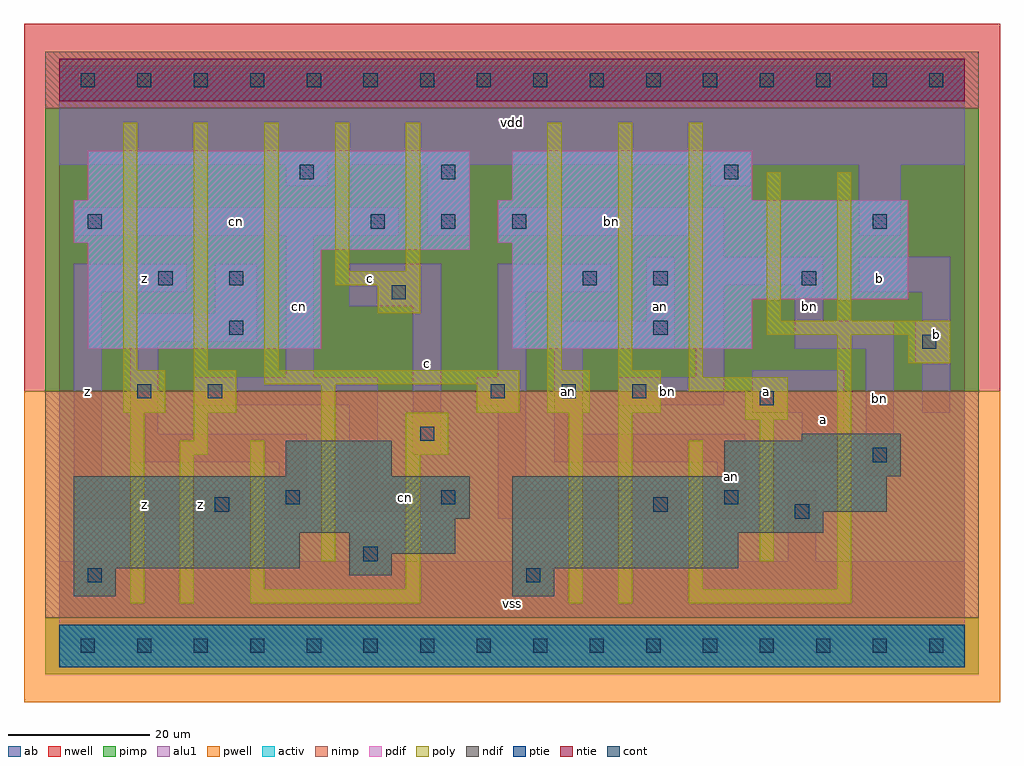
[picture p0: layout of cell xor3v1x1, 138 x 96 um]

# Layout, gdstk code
import gdstk
lib = gdstk.Library(unit=1e-6, precision=1e-09)
def R(c, l, rs):  # rectangles x0, y0, x1, y1
    for r in rs: c.add(gdstk.rectangle(r[:2], r[2:], *l))
def A(c, l, x, y, w, h, nx, ny, dx, dy):  # array of equal rectangles
    R(c, l, [(x+i*dx, y+j*dy, x+i*dx+w, y+j*dy+h) for i in range(nx) for j in range(ny)])
ndif = (3, 0)
pdif = (4, 0)
ntie = (5, 0)
ptie = (6, 0)
cont = (25, 0)
pwell = (41, 0)
nwell = (42, 0)
activ = (43, 0)
pimp = (44, 0)
nimp = (45, 0)
poly = (46, 0)
alu1 = (49, 0)
ab = (63, 0)

xor3v1x1 = lib.new_cell('xor3v1x1')
R(xor3v1x1, ndif, [(2,7,8,11), (64,7,70,11), (41,10,47,13), (2,11,34,16), (64,11,96,16), (41,13,56,16), (2,16,56,18), (64,16,108,19), (2,18,58,24), (64,19,117,24), (32,24,47,29), (94,24,119,29), (105,29,119,30)])
R(xor3v1x1, pdif, [(4,42,37,56), (64,42,98,49), (64,49,120,57), (4,56,58,57), (2,57,58,63), (62,57,120,63), (4,63,58,70), (64,63,98,70)])
R(xor3v1x1, ntie, [(0,77,128,83)])
R(xor3v1x1, ptie, [(0,-3,128,3)])
A(xor3v1x1, cont, 3, -1, 2, 2, 16, 2, 8, 80)
A(xor3v1x1, cont, 61, 35, 2, 2, 3, 1, 10, 0)
A(xor3v1x1, cont, 44, 59, 2, 2, 3, 1, 10, 0)
R(xor3v1x1, cont, [(4,9,6,11), (66,9,68,11), (43,12,45,14), (104,18,106,20), (22,19,24,21), (84,19,86,21), (32,20,34,22), (54,20,56,22), (94,20,96,22), (115,26,117,28), (51,29,53,31), (99,34,101,36), (11,35,13,37), (21,35,23,37), (122,42,124,44), (24,44,26,46), (84,44,86,46), (47,49,49,51), (14,51,16,53), (24,51,26,53), (74,51,76,53), (84,51,86,53), (105,51,107,53), (4,59,6,61), (115,59,117,61), (34,66,36,68), (54,66,56,68), (94,66,96,68)])
R(xor3v1x1, pwell, [(-5,-8,133,36)])
R(xor3v1x1, nwell, [(-5,36,133,88)])
R(xor3v1x1, activ, [(0,-3,128,3), (2,7,8,11), (64,7,70,11), (41,10,47,13), (2,11,34,16), (64,11,96,16), (41,13,56,16), (2,16,56,18), (64,16,108,19), (2,18,58,24), (64,19,117,24), (32,24,47,29), (94,24,119,29), (105,29,119,30), (4,42,37,56), (64,42,98,49), (64,49,120,57), (4,56,58,57), (2,57,58,63), (62,57,120,63), (4,63,58,70), (64,63,98,70), (0,77,128,83)])
R(xor3v1x1, pimp, [(-2,-4,130,4), (-2,36,130,76)])
R(xor3v1x1, nimp, [(-2,4,130,36), (-2,76,130,84)])
A(xor3v1x1, poly, 9, 39, 2, 35, 3, 1, 10, 0)
R(xor3v1x1, poly, [(10,6,12,33), (17,6,19,27), (27,6,51,8), (72,6,74,33), (79,6,81,33), (89,6,112,8), (27,8,29,29), (49,8,51,27), (89,8,91,29), (110,8,112,44), (37,12,39,37), (99,12,101,32), (17,27,21,29), (49,27,55,33), (19,29,21,33), (97,32,103,36), (9,33,15,39), (19,33,25,39), (59,33,65,37), (69,33,75,39), (79,33,85,39), (89,36,103,38), (29,37,65,39), (89,38,91,74), (69,39,71,74), (79,39,81,74), (120,40,126,44), (100,44,126,46), (100,46,102,67), (110,46,112,67), (45,47,51,51), (39,51,51,53), (39,53,41,74), (49,53,51,74)])
R(xor3v1x1, alu1, [(0,-2,128,12), (41,12,47,15), (103,12,107,22), (2,18,26,22), (31,18,35,26), (62,18,88,22), (93,18,97,26), (41,19,58,23), (2,22,6,50), (62,22,66,34), (41,23,45,34), (114,24,118,42), (10,26,35,30), (70,26,97,30), (105,26,111,33), (50,27,54,48), (10,30,14,43), (70,30,74,42), (98,33,111,39), (122,33,126,40), (19,34,45,38), (59,34,66,38), (79,34,94,38), (32,38,36,58), (62,38,66,50), (90,38,94,51), (121,40,126,46), (70,42,87,46), (104,42,118,46), (10,43,28,47), (83,46,87,55), (104,46,108,51), (122,46,126,50), (22,47,28,54), (41,48,54,54), (2,50,18,54), (62,50,78,54), (113,50,126,55), (90,51,108,55), (90,55,94,58), (2,58,48,62), (52,58,58,68), (62,58,94,62), (113,58,119,68), (32,65,38,68), (92,65,98,68), (0,68,128,82)])
R(xor3v1x1, ab, [(0,0,128,80)])
xor3v1x1.add(gdstk.Label('cn', (34,48), layer=49, texttype=0))
xor3v1x1.add(gdstk.Label('cn', (25,60), layer=49, texttype=0))
xor3v1x1.add(gdstk.Label('cn', (49,21), layer=49, texttype=0))
xor3v1x1.add(gdstk.Label('an', (72,36), layer=49, texttype=0))
xor3v1x1.add(gdstk.Label('an', (95,24), layer=49, texttype=0))
xor3v1x1.add(gdstk.Label('bn', (86,36), layer=49, texttype=0))
xor3v1x1.add(gdstk.Label('an', (85,48), layer=49, texttype=0))
xor3v1x1.add(gdstk.Label('bn', (78,60), layer=49, texttype=0))
xor3v1x1.add(gdstk.Label('bn', (116,35), layer=49, texttype=0))
xor3v1x1.add(gdstk.Label('bn', (106,48), layer=49, texttype=0))
xor3v1x1.add(gdstk.Label('z', (20,20), layer=49, texttype=0))
xor3v1x1.add(gdstk.Label('z', (12,20), layer=49, texttype=0))
xor3v1x1.add(gdstk.Label('z', (4,36), layer=49, texttype=0))
xor3v1x1.add(gdstk.Label('z', (12,52), layer=49, texttype=0))
xor3v1x1.add(gdstk.Label('c', (52,40), layer=49, texttype=0))
xor3v1x1.add(gdstk.Label('c', (44,52), layer=49, texttype=0))
xor3v1x1.add(gdstk.Label('vss', (64,6), layer=49, texttype=0))
xor3v1x1.add(gdstk.Label('vdd', (64,74), layer=49, texttype=0))
xor3v1x1.add(gdstk.Label('a', (100,36), layer=49, texttype=0))
xor3v1x1.add(gdstk.Label('a', (108,32), layer=49, texttype=0))
xor3v1x1.add(gdstk.Label('b', (124,44), layer=49, texttype=0))
xor3v1x1.add(gdstk.Label('b', (116,52), layer=49, texttype=0))

lib.write_gds('xor3v1x1.gds')
